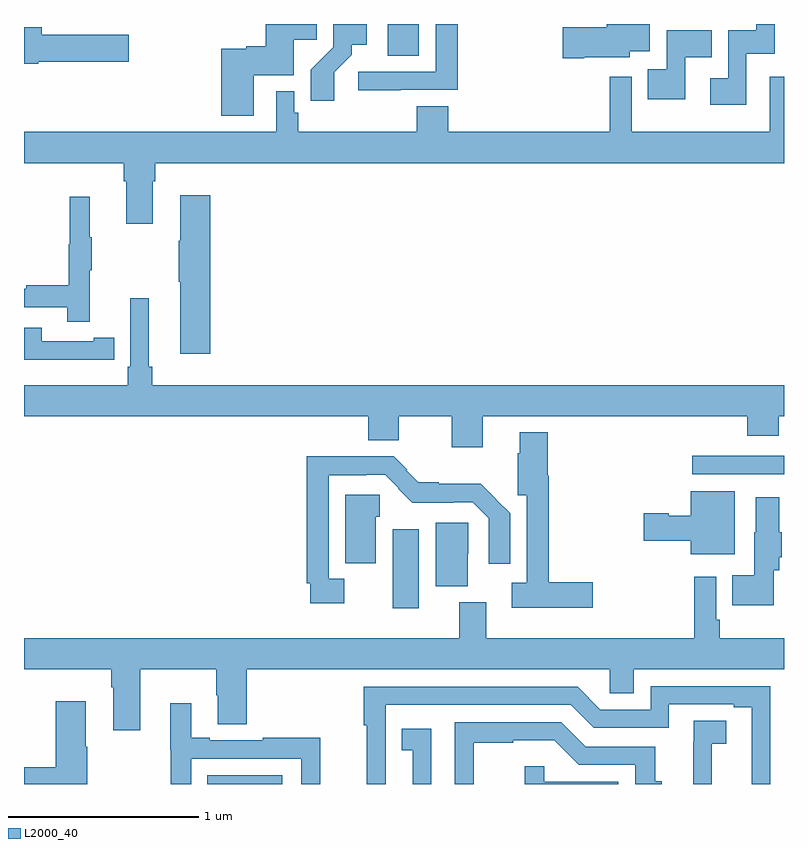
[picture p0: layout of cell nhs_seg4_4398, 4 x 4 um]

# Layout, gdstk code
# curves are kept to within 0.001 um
import gdstk
lib = gdstk.Library(unit=1e-6, precision=1e-09)
def R(c, l, rs):  # rectangles x0, y0, x1, y1
    for r in rs: c.add(gdstk.rectangle(r[:2], r[2:], *l))
def P(c, l, *ps):  # polygons
    for p in ps: c.add(gdstk.Polygon(p, *l))
L2000_40 = (2000, 40)

nhs_seg4_4398 = lib.new_cell('nhs_seg4_4398')
R(nhs_seg4_4398, L2000_40, [(347.965,778.9,348.358,778.945), (348.941,779.826,349.078,780.241), (350.517,780.531,351,780.627), (348.914,782.734,349.078,782.9)])
P(nhs_seg4_4398, L2000_40, [(348.983,782.553),(349.283,782.553),(349.283,782.9),(349.167,782.9),(349.167,782.649),(348.759,782.649),(348.759,782.551),(348.983,782.551)],
  [(350.802,782.744),(350.952,782.744),(350.952,782.9),(350.854,782.9),(350.854,782.866),(350.706,782.866),(350.706,782.614),(350.613,782.614),(350.613,782.474),(350.802,782.474)],
  [(348.208,782.63),(348.421,782.63),(348.421,782.818),(348.542,782.818),(348.542,782.9),(348.272,782.9),(348.272,782.783),(348.171,782.783),(348.171,782.77),(348.038,782.77),(348.038,782.418),(348.208,782.418)],
  [(349.948,782.726),(350.188,782.726),(350.188,782.756),(350.293,782.756),(350.293,782.9),(350.066,782.9),(350.066,782.884),(349.836,782.884),(349.836,782.719),(349.948,782.719)],
  [(348.634,782.647),(348.724,782.737),(348.724,782.792),(348.805,782.792),(348.805,782.9),(348.627,782.9),(348.627,782.777),(348.508,782.658),(348.508,782.496),(348.634,782.496)],
  [(347.076,782.701),(347.551,782.701),(347.551,782.843),(347.093,782.843),(347.093,782.884),(347,782.884),(347,782.69),(347.076,782.69)],
  [(350.479,782.726),(350.621,782.726),(350.621,782.866),(350.382,782.866),(350.382,782.662),(350.284,782.662),(350.284,782.504),(350.479,782.504)],
  [(348.327,782.545),(348.327,782.332),(347,782.332),(347,782.168),(347.525,782.168),(347.525,782.072),(347.537,782.072),(347.537,781.848),(347.677,781.848),(347.677,782.072),(347.69,782.072),(347.69,782.168),(351,782.168),(351,782.623),(350.925,782.623),(350.925,782.332),(350.199,782.332),(350.199,782.623),(350.083,782.623),(350.083,782.332),(349.232,782.332),(349.232,782.468),(349.067,782.468),(349.067,782.332),(348.443,782.332),(348.443,782.433),(348.423,782.433),(348.423,782.545)],
  [(347.981,781.999),(347.822,781.999),(347.822,781.76),(347.815,781.76),(347.815,781.543),(347.822,781.543),(347.822,781.164),(347.981,781.164)],
  [(347.345,781.603),(347.356,781.603),(347.356,781.777),(347.345,781.777),(347.345,781.99),(347.242,781.99),(347.242,781.74),(347.235,781.74),(347.235,781.526),(347.011,781.526),(347.011,781.506),(347,781.506),(347,781.41),(347.227,781.41),(347.227,781.332),(347.345,781.332)],
  [(349.414,780.836),(350.807,780.836),(350.807,780.734),(350.972,780.734),(350.972,780.836),(351,780.836),(351,781),(347.675,781),(347.675,781.096),(347.656,781.096),(347.656,781.456),(347.559,781.456),(347.559,781.096),(347.546,781.096),(347.546,781),(347,781),(347,780.836),(348.812,780.836),(348.812,780.71),(348.973,780.71),(348.973,780.836),(349.25,780.836),(349.25,780.672),(349.414,780.672)],
  [(347.366,781.134),(347.474,781.134),(347.474,781.25),(347.366,781.25),(347.366,781.23),(347.094,781.23),(347.094,781.302),(347,781.302),(347,781.133),(347.366,781.133)],
  [(349.993,779.963),(349.763,779.963),(349.763,780.523),(349.757,780.523),(349.757,780.751),(349.61,780.751),(349.61,780.641),(349.598,780.641),(349.598,780.42),(349.647,780.42),(349.647,779.958),(349.568,779.958),(349.568,779.828),(349.993,779.828)],
  [(348.686,779.98),(348.603,779.98),(348.603,780.524),(348.8,780.524),(348.8,780.528),(348.9,780.528),(348.972,780.456),(348.969,780.453),(349.043,780.38),(349.262,780.38),(349.262,780.384),(349.362,780.384),(349.446,780.3),(349.446,780.06),(349.558,780.06),(349.558,780.324),(349.403,780.481),(349.183,780.481),(349.183,780.489),(349.075,780.489),(349.013,780.551),(349.017,780.555),(348.947,780.625),(348.487,780.625),(348.487,779.956),(348.507,779.956),(348.507,779.852),(348.686,779.852)],
  [(350.74,780.442),(350.51,780.442),(350.51,780.313),(350.394,780.313),(350.394,780.326),(350.262,780.326),(350.262,780.179),(350.51,780.179),(350.51,780.11),(350.74,780.11)],
  [(348.85,780.306),(348.873,780.306),(348.873,780.423),(348.692,780.423),(348.692,780.061),(348.85,780.061)],
  [(350.947,780.024),(350.974,780.024),(350.974,780.093),(350.989,780.093),(350.989,780.225),(350.974,780.225),(350.974,780.409),(350.852,780.409),(350.852,780.225),(350.843,780.225),(350.843,779.998),(350.728,779.998),(350.728,779.84),(350.947,779.84)],
  [(349.336,780.111),(349.338,780.111),(349.338,780.276),(349.166,780.276),(349.166,779.942),(349.336,779.942)],
  [(347.611,779.504),(348.013,779.504),(348.013,779.366),(348.02,779.366),(348.02,779.215),(348.173,779.215),(348.173,779.504),(350.082,779.504),(350.082,779.377),(350.209,779.377),(350.209,779.504),(351,779.504),(351,779.668),(350.663,779.668),(350.663,779.764),(350.643,779.764),(350.643,779.992),(350.527,779.992),(350.527,779.668),(349.432,779.668),(349.432,779.857),(349.292,779.857),(349.292,779.668),(347,779.668),(347,779.504),(347.459,779.504),(347.459,779.408),(347.471,779.408),(347.471,779.184),(347.611,779.184)],
  [(348.904,778.988),(348.903,779.316),(349.878,779.316),(349.998,779.196),(350.394,779.196),(350.394,779.319),(350.735,779.319),(350.735,779.304),(350.831,779.304),(350.831,778.9),(350.928,778.9),(350.928,779.415),(350.298,779.415),(350.298,779.292),(350.034,779.292),(349.914,779.412),(348.787,779.412),(348.787,779.209),(348.805,779.209),(348.805,778.9),(348.904,778.9)],
  [(347.334,779.096),(347.326,779.096),(347.326,779.335),(347.168,779.335),(347.168,778.988),(347,778.988),(347,778.9),(347.334,778.9)],
  [(347.88,779.034),(348.459,779.034),(348.459,778.9),(348.558,778.9),(348.558,779.143),(348.256,779.143),(348.256,779.13),(347.977,779.13),(347.977,779.143),(347.881,779.143),(347.881,779.326),(347.771,779.326),(347.771,779.081),(347.772,779.081),(347.772,778.9),(347.88,778.9)],
  [(350.619,778.915),(350.621,778.915),(350.621,779.113),(350.695,779.113),(350.695,779.234),(350.524,779.234),(350.524,779.123),(350.522,779.123),(350.522,778.9),(350.619,778.9)],
  [(349.367,779.118),(349.574,779.118),(349.574,779.129),(349.792,779.129),(349.92,779.001),(350.216,779.001),(350.216,778.9),(350.356,778.9),(350.356,778.914),(350.323,778.914),(350.323,779.097),(349.956,779.097),(349.827,779.226),(349.266,779.226),(349.266,778.9),(349.367,778.9)],
  [(349.143,779.191),(348.988,779.191),(348.988,779.078),(349.046,779.078),(349.046,778.9),(349.143,778.9)],
  [(350.127,778.911),(349.737,778.911),(349.737,778.993),(349.636,778.993),(349.636,778.9),(350.127,778.9)])

lib.write_gds('nhs_seg4_4398.gds')
